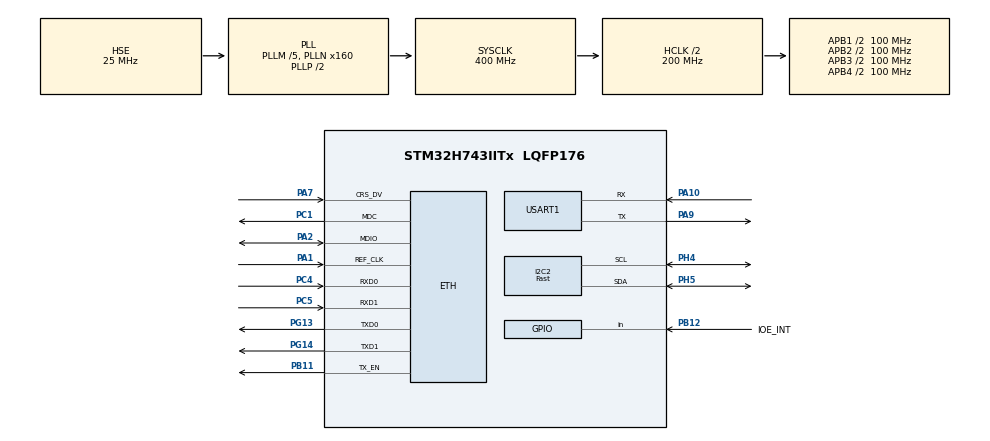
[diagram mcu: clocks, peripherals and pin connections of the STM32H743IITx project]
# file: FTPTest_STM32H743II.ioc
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CORTEX_M7.AccessPermission-Cortex_Memory_Protection_Unit_Region4_Settings=MPU_REGION_FULL_ACCESS
CORTEX_M7.AccessPermission-Cortex_Memory_Protection_Unit_Region5_Settings=MPU_REGION_FULL_ACCESS
CORTEX_M7.BaseAddress-Cortex_Memory_Protection_Unit_Region4_Settings=0x30044000
CORTEX_M7.BaseAddress-Cortex_Memory_Protection_Unit_Region5_Settings=0x30040000
CORTEX_M7.CPU_DCache=Enabled
CORTEX_M7.CPU_ICache=Enabled
CORTEX_M7.Enable-Cortex_Memory_Protection_Unit_Region4_Settings=MPU_REGION_ENABLE
CORTEX_M7.Enable-Cortex_Memory_Protection_Unit_Region5_Settings=MPU_REGION_ENABLE
CORTEX_M7.IsBufferable-Cortex_Memory_Protection_Unit_Region5_Settings=MPU_ACCESS_BUFFERABLE
CORTEX_M7.IsCacheable-Cortex_Memory_Protection_Unit_Region4_Settings=MPU_ACCESS_CACHEABLE
CORTEX_M7.IsShareable-Cortex_Memory_Protection_Unit_Region5_Settings=MPU_ACCESS_SHAREABLE
CORTEX_M7.MPU_Control=MPU_PRIVILEGED_DEFAULT
CORTEX_M7.Size-Cortex_Memory_Protection_Unit_Region4_Settings=MPU_REGION_SIZE_16KB
CORTEX_M7.Size-Cortex_Memory_Protection_Unit_Region5_Settings=MPU_REGION_SIZE_256B
ETH.MediaInterface=HAL_ETH_RMII_MODE
FREERTOS.Queues01=printQueue,64,uint8_t,0,Static,printQueueBuffer,printQueueControlBlock
FREERTOS.Tasks01=defaultTask,0,1024,StartDefaultTask,Default,NULL,Dynamic,NULL,NULL;ftpTask,0,1024,StartFtpTask,Default,NULL,Dynamic,NULL,NULL;printThread,-2,256,PrintTask,Default,NULL,Dynamic,NULL,NULL
FREERTOS.configENABLE_FPU=0
FREERTOS.configTOTAL_HEAP_SIZE=75360
I2C2.CustomTiming=Disabled
I2C2.I2C_Speed_Mode=I2C_Fast
I2C2.Timing=0x009034B6
LWIP.BSP.number=1
LWIP.CMSIS_VERSION-Enabled=1
LWIP.GATEWAY_ADDRESS=192.168.003.001
LWIP.IP_ADDRESS=192.168.003.170
LWIP.LWIP_DHCP=0
LWIP.LWIP_DNS=0
LWIP.LWIP_NETIF_EXT_STATUS_CALLBACK=1
LWIP.LWIP_NETIF_STATUS_CALLBACK=1
LWIP.NETMASK_ADDRESS=255.255.255.000
LWIP.Version=v2.1.2_Cube
LWIP0.BSP.STBoard=false
LWIP0.BSP.api=BSP_COMPONENT_DRIVER
LWIP0.BSP.component=LAN8742
LWIP0.BSP.i2caddr=0
LWIP0.BSP.instance=LAN8742
LWIP0.BSP.name=Driver_PHY
LWIP0.BSP.solution=LAN8742
Mcu.Family=STM32H7
Mcu.Name=STM32H743IITx
Mcu.Package=LQFP176
NVIC.ETH_IRQn=true\:15\:0\:true\:false\:true\:false\:true\:true
NVIC.PriorityGroup=NVIC_PRIORITYGROUP_4
NVIC.TIM1_UP_IRQn=true\:0\:0\:false\:false\:true\:false\:false\:true
NVIC.TimeBase=TIM1_UP_IRQn
NVIC.TimeBaseIP=TIM1
PA1.GPIO_Speed=GPIO_SPEED_FREQ_HIGH
PA1.Mode=RMII
PA1.Signal=ETH_REF_CLK
PA10.Mode=Asynchronous
PA10.Signal=USART1_RX
PA2.GPIO_Speed=GPIO_SPEED_FREQ_HIGH
PA2.Mode=RMII
PA2.Signal=ETH_MDIO
PA7.GPIO_Speed=GPIO_SPEED_FREQ_HIGH
PA7.Mode=RMII
PA7.Signal=ETH_CRS_DV
PA9.Mode=Asynchronous
PA9.Signal=USART1_TX
PB11.GPIO_Speed=GPIO_SPEED_FREQ_HIGH
PB11.Mode=RMII
PB11.Signal=ETH_TX_EN
PB12.GPIO_Label=IOE_INT
PB12.GPIO_PuPd=GPIO_PULLUP
PB12.Signal=GPIO_Input
PC1.GPIO_Speed=GPIO_SPEED_FREQ_HIGH
PC1.Mode=RMII
PC1.Signal=ETH_MDC
PC4.GPIO_Speed=GPIO_SPEED_FREQ_HIGH
PC4.Mode=RMII
PC4.Signal=ETH_RXD0
PC5.GPIO_Speed=GPIO_SPEED_FREQ_HIGH
PC5.Mode=RMII
PC5.Signal=ETH_RXD1
PG13.GPIO_Speed=GPIO_SPEED_FREQ_HIGH
PG13.Mode=RMII
PG13.Signal=ETH_TXD0
PG14.GPIO_Speed=GPIO_SPEED_FREQ_HIGH
PG14.Mode=RMII
PG14.Signal=ETH_TXD1
PH0-OSC_IN\ (PH0).Mode=HSE-External-Oscillator
PH0-OSC_IN\ (PH0).Signal=RCC_OSC_IN
PH1-OSC_OUT\ (PH1).Mode=HSE-External-Oscillator
PH1-OSC_OUT\ (PH1).Signal=RCC_OSC_OUT
PH4.Mode=I2C
PH4.Signal=I2C2_SCL
PH5.Mode=I2C
PH5.Signal=I2C2_SDA
ProjectManager.HeapSize=0x200
ProjectManager.StackSize=0x400
ProjectManager.TargetToolchain=Makefile
RCC.ADCFreq_Value=50390625
RCC.APB1Freq_Value=100000000
RCC.APB2Freq_Value=100000000
RCC.APB3Freq_Value=100000000
RCC.APB4Freq_Value=100000000
RCC.CortexFreq_Value=400000000
RCC.D1PPRE=RCC_APB3_DIV2
RCC.D2PPRE1=RCC_APB1_DIV2
RCC.D2PPRE2=RCC_APB2_DIV2
RCC.D3PPRE=RCC_APB4_DIV2
RCC.DIVM1=5
RCC.DIVN1=160
RCC.HCLKFreq_Value=200000000
RCC.HPRE=RCC_HCLK_DIV2
RCC.PLLSourceVirtual=RCC_PLLSOURCE_HSE
RCC.SYSCLKFreq_VALUE=400000000
RCC.SYSCLKSource=RCC_SYSCLKSOURCE_PLLCLK
RCC.USBFreq_Value=400000000
USART1.VirtualMode-Asynchronous=VM_ASYNC
VP_FREERTOS_VS_CMSIS_V1.Mode=CMSIS_V1
VP_LWIP_VS_Enabled.Mode=Enabled
VP_SYS_VS_tim1.Mode=TIM1
board=custom

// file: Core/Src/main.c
/* USER CODE BEGIN Header */
/**
  ******************************************************************************
  * @file           : main.c
  * @brief          : Main program body
  ******************************************************************************
  * @attention
  *
  * <h2><center>&copy; Copyright (c) 2020 STMicroelectronics.
  * All rights reserved.</center></h2>
  *
  * This software component is licensed by ST under BSD 3-Clause license,
  * the "License"; You may not use this file except in compliance with the
  * License. You may obtain a copy of the License at:
  *                        opensource.org/licenses/BSD-3-Clause
  *
  ******************************************************************************
  */
/* USER CODE END Header */
#include "main.h"
#include "cmsis_os.h"
#include "i2c.h"
#include "lwip.h"
#include "usart.h"
#include "gpio.h"

/* USER CODE BEGIN Includes */
#include "lwip.h"
#include "ftp.h"
/* USER CODE END Includes */

void SystemClock_Config(void);
static void MPU_Config(void);
void MX_FREERTOS_Init(void);

int main(void)
{

  /* MPU Configuration--------------------------------------------------------*/
  MPU_Config();

  /* Enable I-Cache---------------------------------------------------------*/
  SCB_EnableICache();

  /* Enable D-Cache---------------------------------------------------------*/
  SCB_EnableDCache();

  /* MCU Configuration--------------------------------------------------------*/

  /* Reset of all peripherals, Initializes the Flash interface and the Systick. */
  HAL_Init();

  /* Configure the system clock */
  SystemClock_Config();

  /* Initialize all configured peripherals */
  MX_GPIO_Init();
  MX_I2C2_Init();
  MX_USART1_UART_Init();

  /* Call init function for freertos objects (in freertos.c) */
  MX_FREERTOS_Init();
  /* Start scheduler */
  osKernelStart();

  /* We should never get here as control is now taken by the scheduler */
  /* Infinite loop */
  while (1)
  {

  }
}

void SystemClock_Config(void)
{
  RCC_OscInitTypeDef RCC_OscInitStruct = {0};
  RCC_ClkInitTypeDef RCC_ClkInitStruct = {0};
  RCC_PeriphCLKInitTypeDef PeriphClkInitStruct = {0};

  /** Supply configuration update enable
  */
  HAL_PWREx_ConfigSupply(PWR_LDO_SUPPLY);
  /** Configure the main internal regulator output voltage
  */
  __HAL_PWR_VOLTAGESCALING_CONFIG(PWR_REGULATOR_VOLTAGE_SCALE1);

  while(!__HAL_PWR_GET_FLAG(PWR_FLAG_VOSRDY)) {}
  /** Initializes the RCC Oscillators according to the specified parameters
  * in the RCC_OscInitTypeDef structure.
  */
  RCC_OscInitStruct.OscillatorType = RCC_OSCILLATORTYPE_HSE;
  RCC_OscInitStruct.HSEState = RCC_HSE_ON;
  RCC_OscInitStruct.PLL.PLLState = RCC_PLL_ON;
  RCC_OscInitStruct.PLL.PLLSource = RCC_PLLSOURCE_HSE;
  RCC_OscInitStruct.PLL.PLLM = 5;
  RCC_OscInitStruct.PLL.PLLN = 160;
  RCC_OscInitStruct.PLL.PLLP = 2;
  RCC_OscInitStruct.PLL.PLLQ = 2;
  RCC_OscInitStruct.PLL.PLLR = 2;
  RCC_OscInitStruct.PLL.PLLRGE = RCC_PLL1VCIRANGE_2;
  RCC_OscInitStruct.PLL.PLLVCOSEL = RCC_PLL1VCOWIDE;
  RCC_OscInitStruct.PLL.PLLFRACN = 0;
  if (HAL_RCC_OscConfig(&RCC_OscInitStruct) != HAL_OK)
  {
    Error_Handler();
  }
  /** Initializes the CPU, AHB and APB buses clocks
  */
  RCC_ClkInitStruct.ClockType = RCC_CLOCKTYPE_HCLK|RCC_CLOCKTYPE_SYSCLK
                              |RCC_CLOCKTYPE_PCLK1|RCC_CLOCKTYPE_PCLK2
                              |RCC_CLOCKTYPE_D3PCLK1|RCC_CLOCKTYPE_D1PCLK1;
  RCC_ClkInitStruct.SYSCLKSource = RCC_SYSCLKSOURCE_PLLCLK;
  RCC_ClkInitStruct.SYSCLKDivider = RCC_SYSCLK_DIV1;
  RCC_ClkInitStruct.AHBCLKDivider = RCC_HCLK_DIV2;
  RCC_ClkInitStruct.APB3CLKDivider = RCC_APB3_DIV2;
  RCC_ClkInitStruct.APB1CLKDivider = RCC_APB1_DIV2;
  RCC_ClkInitStruct.APB2CLKDivider = RCC_APB2_DIV2;
  RCC_ClkInitStruct.APB4CLKDivider = RCC_APB4_DIV2;

  if (HAL_RCC_ClockConfig(&RCC_ClkInitStruct, FLASH_LATENCY_2) != HAL_OK)
  {
    Error_Handler();
  }
  PeriphClkInitStruct.PeriphClockSelection = RCC_PERIPHCLK_USART1|RCC_PERIPHCLK_I2C2;
  PeriphClkInitStruct.Usart16ClockSelection = RCC_USART16CLKSOURCE_D2PCLK2;
  PeriphClkInitStruct.I2c123ClockSelection = RCC_I2C123CLKSOURCE_D2PCLK1;
  if (HAL_RCCEx_PeriphCLKConfig(&PeriphClkInitStruct) != HAL_OK)
  {
    Error_Handler();
  }
}

/* MPU Configuration */

void MPU_Config(void)
{
  MPU_Region_InitTypeDef MPU_InitStruct = {0};

  /* Disables the MPU */
  HAL_MPU_Disable();
  /** Initializes and configures the Region and the memory to be protected
  */
  MPU_InitStruct.Enable = MPU_REGION_ENABLE;
  MPU_InitStruct.Number = MPU_REGION_NUMBER4;
  MPU_InitStruct.BaseAddress = 0x30044000;
  MPU_InitStruct.Size = MPU_REGION_SIZE_16KB;
  MPU_InitStruct.SubRegionDisable = 0x0;
  MPU_InitStruct.TypeExtField = MPU_TEX_LEVEL0;
  MPU_InitStruct.AccessPermission = MPU_REGION_FULL_ACCESS;
  MPU_InitStruct.DisableExec = MPU_INSTRUCTION_ACCESS_ENABLE;
  MPU_InitStruct.IsShareable = MPU_ACCESS_NOT_SHAREABLE;
  MPU_InitStruct.IsCacheable = MPU_ACCESS_CACHEABLE;
  MPU_InitStruct.IsBufferable = MPU_ACCESS_NOT_BUFFERABLE;

  HAL_MPU_ConfigRegion(&MPU_InitStruct);
  /** Initializes and configures the Region and the memory to be protected
  */
  MPU_InitStruct.Enable = MPU_REGION_ENABLE;
  MPU_InitStruct.Number = MPU_REGION_NUMBER5;
  MPU_InitStruct.BaseAddress = 0x30040000;
  MPU_InitStruct.Size = MPU_REGION_SIZE_256B;
  MPU_InitStruct.SubRegionDisable = 0x0;
  MPU_InitStruct.TypeExtField = MPU_TEX_LEVEL0;
  MPU_InitStruct.AccessPermission = MPU_REGION_FULL_ACCESS;
  MPU_InitStruct.DisableExec = MPU_INSTRUCTION_ACCESS_ENABLE;
  MPU_InitStruct.IsShareable = MPU_ACCESS_SHAREABLE;
  MPU_InitStruct.IsCacheable = MPU_ACCESS_NOT_CACHEABLE;
  MPU_InitStruct.IsBufferable = MPU_ACCESS_BUFFERABLE;

  HAL_MPU_ConfigRegion(&MPU_InitStruct);
  /* Enables the MPU */
  HAL_MPU_Enable(MPU_PRIVILEGED_DEFAULT);

}
void HAL_TIM_PeriodElapsedCallback(TIM_HandleTypeDef *htim)
{
  if (htim->Instance == TIM1) {
    HAL_IncTick();
  }
}

void Error_Handler(void)
{
}

/************************ (C) COPYRIGHT STMicroelectronics *****END OF FILE****/

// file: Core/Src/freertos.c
/* USER CODE BEGIN Header */
/**
  ******************************************************************************
  * File Name          : freertos.c
  * Description        : Code for freertos applications
  ******************************************************************************
  * @attention
  *
  * <h2><center>&copy; Copyright (c) 2020 STMicroelectronics.
  * All rights reserved.</center></h2>
  *
  * This software component is licensed by ST under Ultimate Liberty license
  * SLA0044, the "License"; You may not use this file except in compliance with
  * the License. You may obtain a copy of the License at:
  *                             www.st.com/SLA0044
  *
  ******************************************************************************
  */
/* USER CODE END Header */

#include "FreeRTOS.h"
#include "task.h"
#include "main.h"
#include "cmsis_os.h"

/* USER CODE BEGIN Includes */
#include "ftp.h"
#include "lwip.h"
#include "usart.h"
/* USER CODE END Includes */

osThreadId defaultTaskHandle;
osThreadId ftpTaskHandle;
osThreadId printThreadHandle;
osMessageQId printQueueHandle;
uint8_t printQueueBuffer[ 64 * sizeof( uint8_t ) ];
osStaticMessageQDef_t printQueueControlBlock;

void StartDefaultTask(void const * argument);
void StartFtpTask(void const * argument);
void PrintTask(void const * argument);

extern void MX_LWIP_Init(void);
void MX_FREERTOS_Init(void); /* (MISRA C 2004 rule 8.1) */

/* GetIdleTaskMemory prototype (linked to static allocation support) */
void vApplicationGetIdleTaskMemory( StaticTask_t **ppxIdleTaskTCBBuffer, StackType_t **ppxIdleTaskStackBuffer, uint32_t *pulIdleTaskStackSize );

/* USER CODE BEGIN GET_IDLE_TASK_MEMORY */
static StaticTask_t xIdleTaskTCBBuffer;
static StackType_t xIdleStack[configMINIMAL_STACK_SIZE];

void vApplicationGetIdleTaskMemory( StaticTask_t **ppxIdleTaskTCBBuffer, StackType_t **ppxIdleTaskStackBuffer, uint32_t *pulIdleTaskStackSize )
{
  *ppxIdleTaskTCBBuffer = &xIdleTaskTCBBuffer;
  *ppxIdleTaskStackBuffer = &xIdleStack[0];
  *pulIdleTaskStackSize = configMINIMAL_STACK_SIZE;
  /* place for user code */
}
/* USER CODE END GET_IDLE_TASK_MEMORY */

void MX_FREERTOS_Init(void) {

  /* Create the queue(s) */
  /* definition and creation of printQueue */
  osMessageQStaticDef(printQueue, 64, uint8_t, printQueueBuffer, &printQueueControlBlock);
  printQueueHandle = osMessageCreate(osMessageQ(printQueue), NULL);

  /* Create the thread(s) */
  /* definition and creation of defaultTask */
  osThreadDef(defaultTask, StartDefaultTask, osPriorityNormal, 0, 1024);
  defaultTaskHandle = osThreadCreate(osThread(defaultTask), NULL);

  /* definition and creation of ftpTask */
  osThreadDef(ftpTask, StartFtpTask, osPriorityNormal, 0, 1024);
  ftpTaskHandle = osThreadCreate(osThread(ftpTask), NULL);

  /* definition and creation of printThread */
  osThreadDef(printThread, PrintTask, osPriorityLow, 0, 256);
  printThreadHandle = osThreadCreate(osThread(printThread), NULL);

}

void StartDefaultTask(void const * argument)
{
  /* init code for LWIP */
  MX_LWIP_Init();
  /* USER CODE BEGIN StartDefaultTask */
  printf("\033[2J\033[0;0HStarting...\r\n");
  /* Infinite loop */
  for(;;)
  {
    osDelay(1);
  }
  /* USER CODE END StartDefaultTask */
}

void StartFtpTask(void const * argument)
{
  /* USER CODE BEGIN StartFtpTask */
  while (!netif_is_up(&gnetif))
  {
    osDelay(1);
  }
  ftp_init();
  while (ftp_status != NOOP)
  {
    osDelay(1);
  }
  char buf[512];
  uint16_t read;
  ftp_getfile("test.txt", buf, 128, &read);
  while (ftp_status != NOOP)
  {
    osDelay(1);
  }
  buf[read] = '\0';
  printf("%s\r\n", buf);
  /* Infinite loop */
  for(;;)
  {
    osDelay(1);
  }
  /* USER CODE END StartFtpTask */
}

void PrintTask(void const * argument)
{
  /* USER CODE BEGIN PrintTask */
  osEvent status;
  /* Infinite loop */
  for(;;)
  {
    status = osMessageGet(printQueueHandle, osWaitForever);
    if (status.status == osEventMessage)
    {
      uint8_t c = (uint8_t)status.value.v;
      while (HAL_UART_GetState(&huart1) == HAL_UART_STATE_BUSY_TX)
      {
      }
      HAL_UART_Transmit(&huart1, &c, 1, 1000);
    }
  }
  /* USER CODE END PrintTask */
}

/************************ (C) COPYRIGHT STMicroelectronics *****END OF FILE****/
